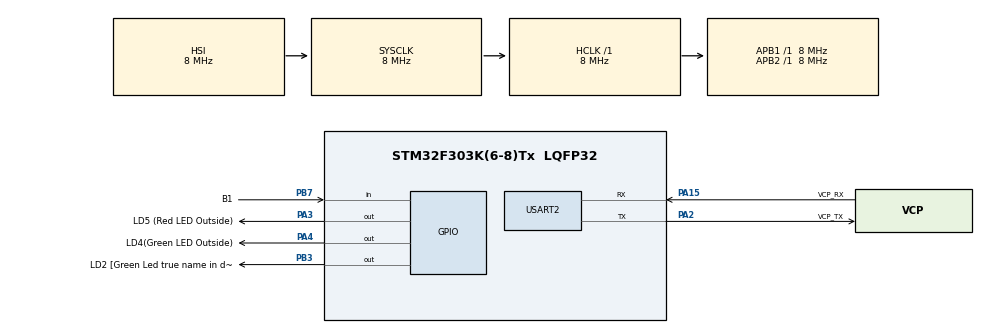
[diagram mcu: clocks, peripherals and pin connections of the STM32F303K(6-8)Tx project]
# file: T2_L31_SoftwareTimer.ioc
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Mcu.Family=STM32F3
Mcu.Name=STM32F303K(6-8)Tx
Mcu.Package=LQFP32
NVIC.PriorityGroup=NVIC_PRIORITYGROUP_4
PA13.GPIO_Label=SWDIO
PA13.Mode=Serial_Wire
PA13.Signal=SYS_JTMS-SWDIO
PA14.GPIO_Label=SWCLK
PA14.Mode=Serial_Wire
PA14.Signal=SYS_JTCK-SWCLK
PA15.GPIO_Label=VCP_RX
PA15.Mode=Asynchronous
PA15.Signal=USART2_RX
PA2.GPIO_Label=VCP_TX
PA2.Mode=Asynchronous
PA2.Signal=USART2_TX
PA3.GPIO_Label=LD5 (Red LED Outside)
PA3.Signal=GPIO_Output
PA4.GPIO_Label=LD4(Green LED Outside)
PA4.Signal=GPIO_Output
PB3.GPIO_Label=LD2 [Green Led true name in doc LD3]
PB3.Signal=GPIO_Output
PB7.GPIO_Label=B1
PB7.Signal=GPIO_Input
PF0\ /\ OSC_IN.GPIO_Label=MCO
PF0\ /\ OSC_IN.Mode=HSE-External-Clock-Source
PF0\ /\ OSC_IN.Signal=RCC_OSC_IN
ProjectManager.HeapSize=0x200
ProjectManager.StackSize=0x400
ProjectManager.TargetToolchain=STM32CubeIDE
RCC.AHBFreq_Value=8000000
RCC.APB1Freq_Value=8000000
RCC.APB2Freq_Value=8000000
RCC.CortexFreq_Value=8000000
RCC.HSE_VALUE=8000000
RCC.HSI_VALUE=8000000
RCC.SYSCLKFreq_VALUE=8000000
USART2.VirtualMode-Asynchronous=VM_ASYNC
board=NUCLEO-F303K8

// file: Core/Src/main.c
/* USER CODE BEGIN Header */
/**
  ******************************************************************************
  * @file           : main.c
  * @brief          : Main program body
  ******************************************************************************
  * @attention
  *
  * <h2><center>&copy; Copyright (c) 2021 STMicroelectronics.
  * All rights reserved.</center></h2>
  *
  * This software component is licensed by ST under BSD 3-Clause license,
  * the "License"; You may not use this file except in compliance with the
  * License. You may obtain a copy of the License at:
  *                        opensource.org/licenses/BSD-3-Clause
  *
  ******************************************************************************
  */
/* USER CODE END Header */
#include "main.h"
#include "usart.h"
#include "gpio.h"

/* USER CODE BEGIN PV */

uint32_t TimerLED2;
uint32_t TimerLED4;
uint32_t TimerLED5;

/* USER CODE END PV */

void SystemClock_Config(void);

int main(void)
{

  /* MCU Configuration--------------------------------------------------------*/

  /* Reset of all peripherals, Initializes the Flash interface and the Systick. */
  HAL_Init();

  /* Configure the system clock */
  SystemClock_Config();

  /* Initialize all configured peripherals */
  MX_GPIO_Init();
  MX_USART2_UART_Init();
  /* USER CODE BEGIN 2 */
  TimerLED2 = HAL_GetTick();
  TimerLED4 = HAL_GetTick();
  TimerLED5 = HAL_GetTick();

  /* USER CODE END 2 */

  /* Infinite loop */
  /* USER CODE BEGIN WHILE */
  while (1)
  {

	  if ((HAL_GetTick() - TimerLED2) > 500 )
	  {
		  TimerLED2 = HAL_GetTick();
		  HAL_GPIO_TogglePin(LD2_GPIO_Port,LD2_Pin);
	  }

	  if ((HAL_GetTick() - TimerLED4) > 100 )
	  	  {
	  		  TimerLED4 = HAL_GetTick();
	  		  HAL_GPIO_TogglePin(LD4_GPIO_Port,LD4_Pin);
	  	  }

	  if ((HAL_GetTick() - TimerLED5) > 1000 )
	  	  {
	  		  TimerLED5 = HAL_GetTick();
	  		  HAL_GPIO_TogglePin(LD5_GPIO_Port,LD5_Pin);
	  	  }
	  /* EXAMPLE 1 */
//	  HAL_GPIO_WritePin(LD2_GPIO_Port, LD2_Pin, GPIO_PIN_SET);
//	  HAL_Delay(500);
//	  HAL_GPIO_WritePin(LD2_GPIO_Port, LD2_Pin, GPIO_PIN_RESET);
//	  HAL_Delay(500);

	  /* EXAMPLE 2 */
//	  HAL_GPIO_TogglePin(LD2_GPIO_Port,LD2_Pin);
//	  HAL_Delay(500);

    /* USER CODE END WHILE */

  }
}

void SystemClock_Config(void)
{
  RCC_OscInitTypeDef RCC_OscInitStruct = {0};
  RCC_ClkInitTypeDef RCC_ClkInitStruct = {0};

  /** Initializes the RCC Oscillators according to the specified parameters
  * in the RCC_OscInitTypeDef structure.
  */
  RCC_OscInitStruct.OscillatorType = RCC_OSCILLATORTYPE_HSI;
  RCC_OscInitStruct.HSIState = RCC_HSI_ON;
  RCC_OscInitStruct.HSICalibrationValue = RCC_HSICALIBRATION_DEFAULT;
  RCC_OscInitStruct.PLL.PLLState = RCC_PLL_NONE;
  if (HAL_RCC_OscConfig(&RCC_OscInitStruct) != HAL_OK)
  {
    Error_Handler();
  }
  /** Initializes the CPU, AHB and APB buses clocks
  */
  RCC_ClkInitStruct.ClockType = RCC_CLOCKTYPE_HCLK|RCC_CLOCKTYPE_SYSCLK
                              |RCC_CLOCKTYPE_PCLK1|RCC_CLOCKTYPE_PCLK2;
  RCC_ClkInitStruct.SYSCLKSource = RCC_SYSCLKSOURCE_HSI;
  RCC_ClkInitStruct.AHBCLKDivider = RCC_SYSCLK_DIV1;
  RCC_ClkInitStruct.APB1CLKDivider = RCC_HCLK_DIV1;
  RCC_ClkInitStruct.APB2CLKDivider = RCC_HCLK_DIV1;

  if (HAL_RCC_ClockConfig(&RCC_ClkInitStruct, FLASH_LATENCY_0) != HAL_OK)
  {
    Error_Handler();
  }
}

void Error_Handler(void)
{
  __disable_irq();
  while (1)
  {
  }
}

/************************ (C) COPYRIGHT STMicroelectronics *****END OF FILE****/
